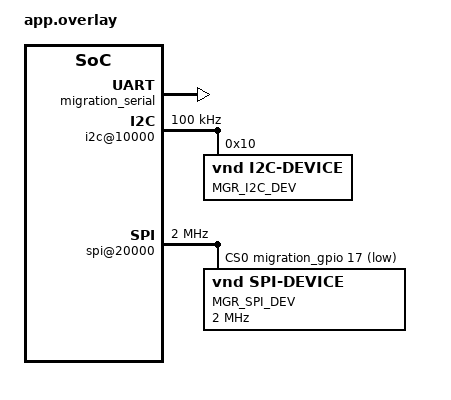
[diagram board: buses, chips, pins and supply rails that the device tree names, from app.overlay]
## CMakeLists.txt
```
# SPDX-License-Identifier: Apache-2.0

cmake_minimum_required(VERSION 3.13.1)

set(DTS_ROOTS ${CMAKE_CURRENT_LIST_DIR})
find_package(Zephyr REQUIRED HINTS $ENV{ZEPHYR_BASE})
project(devicetree)

FILE(GLOB app_sources src/*.c)
target_sources(app PRIVATE ${app_sources})
```

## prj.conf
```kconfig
CONFIG_ZTEST=y
CONFIG_LEGACY_DEVICETREE_MACROS=y
```

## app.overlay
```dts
/*
 * Copyright (c) 2020 Nordic Semiconductor ASA
 *
 * SPDX-License-Identifier: Apache-2.0
 *
 * Application overlay for testing the legacy devicetree macros can
 * be migrated to the devicetree.h API.
 *
 * Names in this file should be chosen in a way that won't conflict
 * with real-world devicetree nodes, to allow these tests to run on
 * (and be extended to test) real hardware.
 */
#include <dt-bindings/gpio/gpio.h>

/*
 * The "start-after..." and "end-before..." comments are because
 * this file is included in the migration HOWTO.
 */

/* start-after-here */
/ {
	aliases {
		mgr-gpio = &migration_gpio;
		mgr-serial = &migration_serial;
		mgr-i2c-dev = &mgr_i2c_device;
		mgr-spi-dev = &mgr_spi_device;
	};

	migration {
		#address-cells = <0x1>;
		#size-cells = <0x1>;
		interrupt-parent = <&migration_intc>;

		migration_gpio: gpio@1000 {
			compatible = "vnd,gpio";
			gpio-controller;
			reg = <0x1000 0x2000>;
			interrupts = <0 1>;
			#gpio-cells = <0x2>;
			label = "MGR_GPIO";
		};

		migration_serial: serial@3000 {
			compatible = "vnd,serial";
			reg = <0x3000 0x1000>;
			interrupts = <2 1>;
			label = "MGR_SERIAL";
			baud-rate = <115200>;
		};

		i2c@10000 {
			#address-cells = <1>;
			#size-cells = <0>;
			compatible = "vnd,i2c";
			reg = < 0x10000 0x1000 >;
			label = "MGR_I2C";
			clock-frequency = <100000>;
			interrupts = <10 1>;

			mgr_i2c_device: i2c-dev@10 {
				compatible = "vnd,i2c-device";
				label = "MGR_I2C_DEV";
				reg = <0x10>;
			};
		};

		spi@20000 {
			#address-cells = < 1 >;
			#size-cells = < 0 >;
			compatible = "vnd,spi";
			reg = <0x20000 0x1000>;
			interrupts = <20 1>;
			label = "MGR_SPI";
			clock-frequency = <2000000>;

			cs-gpios = <&migration_gpio 17 GPIO_ACTIVE_LOW>;

			mgr_spi_device: spi-dev@0 {
				compatible = "vnd,spi-device";
				label = "MGR_SPI_DEV";
				reg = <0>;
				spi-max-frequency = <2000000>;
			};
		};

		migration_intc: interrupt-controller@30000 {
			compatible = "vnd,intc";
			reg = <0x30000 0x1000>;
			label = "MGR_INTC";
			interrupt-controller;
			#interrupt-cells = <2>;
		};
	};
};
/* end-before-here */
```

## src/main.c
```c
/*
 * Copyright (c) 2020 Nordic Semiconductor ASA
 *
 * SPDX-License-Identifier: Apache-2.0
 */

#include <ztest.h>
#include <devicetree.h>

/*
 * We test most common properties (label, reg, interrupts) on just the
 * GPIO node, since they work the same way on all nodes.
 */

static void test_gpio(void)
{
	/* label */
	zassert_equal(DT_VND_GPIO_1000_LABEL,
		      DT_LABEL(DT_PATH(migration, gpio_1000)),
		      "");

	zassert_equal(DT_INST_0_VND_GPIO_LABEL,
		      DT_LABEL(DT_INST(0, vnd_gpio)),
		      "");

	zassert_equal(DT_ALIAS_MGR_GPIO_LABEL,
		      DT_LABEL(DT_ALIAS(mgr_gpio)),
		      "");

	zassert_equal(DT_ALIAS_MGR_GPIO_LABEL,
		      DT_LABEL(DT_NODELABEL(migration_gpio)),
		      "");

	/* reg base address */
	zassert_equal(DT_VND_GPIO_1000_BASE_ADDRESS,
		      DT_REG_ADDR(DT_PATH(migration, gpio_1000)),
		      "");

	zassert_equal(DT_INST_0_VND_GPIO_BASE_ADDRESS,
		      DT_REG_ADDR(DT_INST(0, vnd_gpio)),
		      "");

	zassert_equal(DT_ALIAS_MGR_GPIO_BASE_ADDRESS,
		      DT_REG_ADDR(DT_ALIAS(mgr_gpio)),
		      "");

	zassert_equal(DT_ALIAS_MGR_GPIO_BASE_ADDRESS,
		      DT_REG_ADDR(DT_NODELABEL(migration_gpio)),
		      "");

	/* reg size */
	zassert_equal(DT_VND_GPIO_1000_SIZE,
		      DT_REG_SIZE(DT_PATH(migration, gpio_1000)),
		      "");

	zassert_equal(DT_INST_0_VND_GPIO_SIZE,
		      DT_REG_SIZE(DT_INST(0, vnd_gpio)),
		      "");

	zassert_equal(DT_ALIAS_MGR_GPIO_SIZE,
		      DT_REG_SIZE(DT_ALIAS(mgr_gpio)),
		      "");

	zassert_equal(DT_ALIAS_MGR_GPIO_SIZE,
		      DT_REG_SIZE(DT_NODELABEL(migration_gpio)),
		      "");

	/* irq number */
	zassert_equal(DT_VND_GPIO_1000_IRQ_0,
		      DT_IRQN(DT_PATH(migration, gpio_1000)),
		      "");

	zassert_equal(DT_INST_0_VND_GPIO_IRQ_0,
		      DT_IRQN(DT_INST(0, vnd_gpio)),
		      "");

	zassert_equal(DT_ALIAS_MGR_GPIO_IRQ_0,
		      DT_IRQN(DT_ALIAS(mgr_gpio)),
		      "");

	zassert_equal(DT_ALIAS_MGR_GPIO_IRQ_0,
		      DT_IRQN(DT_NODELABEL(migration_gpio)),
		      "");

	/* irq priority */
	zassert_equal(DT_VND_GPIO_1000_IRQ_0_PRIORITY,
		      DT_IRQ(DT_PATH(migration, gpio_1000), priority),
		      "");

	zassert_equal(DT_INST_0_VND_GPIO_IRQ_0_PRIORITY,
		      DT_IRQ(DT_INST(0, vnd_gpio), priority),
		      "");

	zassert_equal(DT_ALIAS_MGR_GPIO_IRQ_0_PRIORITY,
		      DT_IRQ(DT_ALIAS(mgr_gpio), priority),
		      "");

	zassert_equal(DT_ALIAS_MGR_GPIO_IRQ_0_PRIORITY,
		      DT_IRQ(DT_NODELABEL(migration_gpio), priority),
		      "");
}

/*
 * The serial device is how we test specific properties.
 */

static void test_serial(void)
{
	zassert_equal(DT_VND_SERIAL_3000_BAUD_RATE,
		      DT_PROP(DT_PATH(migration, serial_3000), baud_rate),
		      "");
	zassert_equal(DT_ALIAS_MGR_SERIAL_BAUD_RATE,
		      DT_PROP(DT_ALIAS(mgr_serial), baud_rate),
		      "");
	zassert_equal(DT_ALIAS_MGR_SERIAL_BAUD_RATE,
		      DT_PROP(DT_NODELABEL(migration_serial), baud_rate),
		      "");
	zassert_equal(DT_INST_0_VND_SERIAL_BAUD_RATE,
		      DT_PROP(DT_INST(0, vnd_serial), baud_rate),
		      "");
}

/*
 * The I2C and SPI devices are used to test inter-device relationships.
 */

#define I2C_DEV_PATH		DT_PATH(migration, i2c_10000, i2c_dev_10)
#define I2C_DEV_ALIAS		DT_ALIAS(mgr_i2c_dev)
#define I2C_DEV_NODELABEL	DT_NODELABEL(mgr_i2c_device)
#define I2C_DEV_INST		DT_INST(0, vnd_i2c_device)
static void test_i2c_device(void)
{
	/* Bus controller name */
	zassert_true(!strcmp(DT_VND_I2C_10000_VND_I2C_DEVICE_10_BUS_NAME,
			     DT_LABEL(DT_BUS(I2C_DEV_PATH))),
		     "");
	zassert_true(!strcmp(DT_ALIAS_MGR_I2C_DEV_BUS_NAME,
			     DT_LABEL(DT_BUS(I2C_DEV_ALIAS))),
		     "");
	zassert_true(!strcmp(DT_ALIAS_MGR_I2C_DEV_BUS_NAME,
			     DT_LABEL(DT_BUS(I2C_DEV_NODELABEL))),
		     "");
	zassert_true(!strcmp(DT_INST_0_VND_I2C_DEVICE_BUS_NAME,
			     DT_LABEL(DT_BUS(I2C_DEV_INST))),
		     "");
}

#define SPI_DEV_PATH		DT_PATH(migration, spi_20000, spi_dev_0)
#define SPI_DEV_ALIAS		DT_ALIAS(mgr_spi_dev)
#define SPI_DEV_NODELABEL	DT_NODELABEL(mgr_spi_device)
#define SPI_DEV_INST		DT_INST(0, vnd_spi_device)
static void test_spi_device(void)
{
	/* cs-gpios controller label */
	zassert_true(
		!strcmp(DT_VND_SPI_20000_VND_SPI_DEVICE_0_CS_GPIOS_CONTROLLER,
			DT_SPI_DEV_CS_GPIOS_LABEL(SPI_DEV_PATH)),
		"");
	zassert_true(!strcmp(DT_ALIAS_MGR_SPI_DEV_CS_GPIOS_CONTROLLER,
			     DT_SPI_DEV_CS_GPIOS_LABEL(SPI_DEV_ALIAS)),
		     "");
	zassert_true(!strcmp(DT_ALIAS_MGR_SPI_DEV_CS_GPIOS_CONTROLLER,
			     DT_SPI_DEV_CS_GPIOS_LABEL(SPI_DEV_NODELABEL)),
		     "");
	zassert_true(!strcmp(DT_INST_0_VND_SPI_DEVICE_CS_GPIOS_CONTROLLER,
			     DT_SPI_DEV_CS_GPIOS_LABEL(SPI_DEV_INST)),
		     "");

	/* cs-gpios pin number */
	zassert_equal(DT_VND_SPI_20000_VND_SPI_DEVICE_0_CS_GPIOS_PIN,
		      DT_SPI_DEV_CS_GPIOS_PIN(SPI_DEV_PATH),
		      "");
	zassert_equal(DT_ALIAS_MGR_SPI_DEV_CS_GPIOS_PIN,
		      DT_SPI_DEV_CS_GPIOS_PIN(SPI_DEV_ALIAS),
		      "");
	zassert_equal(DT_ALIAS_MGR_SPI_DEV_CS_GPIOS_PIN,
		      DT_SPI_DEV_CS_GPIOS_PIN(SPI_DEV_NODELABEL),
		      "");
	zassert_equal(DT_INST_0_VND_SPI_DEVICE_CS_GPIOS_PIN,
		      DT_SPI_DEV_CS_GPIOS_PIN(SPI_DEV_INST),
		      "");

	/* cs-gpios GPIO flags */
	zassert_equal(DT_VND_SPI_20000_VND_SPI_DEVICE_0_CS_GPIOS_FLAGS,
		      DT_SPI_DEV_CS_GPIOS_FLAGS(SPI_DEV_PATH),
		      "");
	zassert_equal(DT_ALIAS_MGR_SPI_DEV_CS_GPIOS_FLAGS,
		      DT_SPI_DEV_CS_GPIOS_FLAGS(SPI_DEV_ALIAS),
		      "");
	zassert_equal(DT_ALIAS_MGR_SPI_DEV_CS_GPIOS_FLAGS,
		      DT_SPI_DEV_CS_GPIOS_FLAGS(SPI_DEV_NODELABEL),
		      "");
	zassert_equal(DT_INST_0_VND_SPI_DEVICE_CS_GPIOS_FLAGS,
		      DT_SPI_DEV_CS_GPIOS_FLAGS(SPI_DEV_INST),
		      "");
}

void test_main(void)
{
	ztest_test_suite(devicetree_legacy_api,
			 ztest_unit_test(test_gpio),
			 ztest_unit_test(test_serial),
			 ztest_unit_test(test_i2c_device),
			 ztest_unit_test(test_spi_device)
		);
	ztest_run_test_suite(devicetree_legacy_api);
}
```
